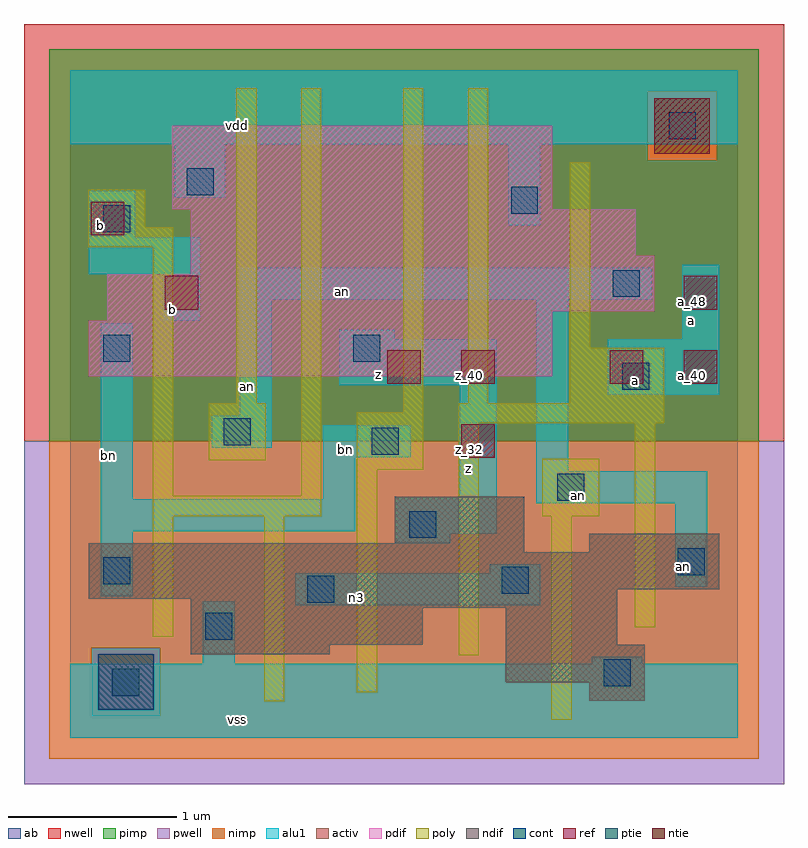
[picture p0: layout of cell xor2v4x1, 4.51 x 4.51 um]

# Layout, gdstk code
import gdstk
lib = gdstk.Library(unit=1e-6, precision=2.5e-09)
def R(c, l, rs):  # rectangles x0, y0, x1, y1
    for r in rs: c.add(gdstk.rectangle(r[:2], r[2:], *l))
ndif = (3, 0)
pdif = (4, 0)
ntie = (5, 0)
ptie = (6, 0)
ref = (24, 0)
cont = (25, 0)
pwell = (41, 0)
nwell = (42, 0)
activ = (43, 0)
pimp = (44, 0)
nimp = (45, 0)
poly = (46, 0)
alu1 = (49, 0)
ab = (63, 0)

xor2v4x1 = lib.new_cell('xor2v4x1')
R(xor2v4x1, ndif, [(3.08,0.22,3.41,0.33), (2.585,0.33,3.41,0.55), (0.715,0.495,1.54,0.55), (0.715,0.55,2.09,0.77), (2.585,0.55,3.245,0.77), (0.715,0.77,3.245,0.825), (0.11,0.825,3.245,0.88), (0.11,0.88,3.85,1.1), (0.11,1.1,2.695,1.155), (3.08,1.1,3.85,1.21), (1.925,1.155,2.695,1.43)])
R(xor2v4x1, pdif, [(0.11,2.145,2.86,2.475), (0.22,2.475,2.86,2.53), (0.22,2.53,3.465,2.75), (0.715,2.75,3.465,2.86), (0.715,2.86,3.355,3.135), (0.605,3.135,2.86,3.63)])
R(xor2v4x1, ntie, [(3.465,3.465,3.795,3.795)])
R(xor2v4x1, ptie, [(0.165,0.165,0.495,0.495)])
R(xor2v4x1, ref, [(2.32,1.66,2.52,1.86), (1.88,2.1,2.08,2.3), (2.32,2.1,2.52,2.3), (3.2,2.1,3.4,2.3), (3.64,2.1,3.84,2.3), (0.56,2.54,0.76,2.74), (3.64,2.54,3.84,2.74), (0.12,2.98,0.32,3.18)])
R(xor2v4x1, cont, [(0.25,0.25,0.41,0.41), (3.165,0.305,3.325,0.465), (0.8,0.58,0.96,0.74), (1.405,0.8,1.565,0.96), (2.56,0.855,2.72,1.015), (0.195,0.91,0.355,1.07), (3.605,0.965,3.765,1.125), (2.01,1.185,2.17,1.345), (2.89,1.405,3.05,1.565), (1.79,1.68,1.95,1.84), (0.91,1.735,1.07,1.895), (3.275,2.065,3.435,2.225), (0.195,2.23,0.355,2.39), (1.68,2.23,1.84,2.39), (3.22,2.615,3.38,2.775), (0.195,3,0.355,3.16), (2.615,3.11,2.775,3.27), (0.69,3.22,0.85,3.38), (3.55,3.55,3.71,3.71)])
R(xor2v4x1, pwell, [(-0.275,-0.275,4.235,1.76)])
R(xor2v4x1, nwell, [(-0.275,1.76,4.235,4.235)])
R(xor2v4x1, activ, [(0.165,0.165,0.495,0.495), (3.08,0.22,3.41,0.33), (2.585,0.33,3.41,0.55), (0.715,0.495,1.54,0.55), (0.715,0.55,2.09,0.77), (2.585,0.55,3.245,0.77), (0.715,0.77,3.245,0.825), (0.11,0.825,3.245,0.88), (0.11,0.88,3.85,1.1), (0.11,1.1,2.695,1.155), (3.08,1.1,3.85,1.21), (1.925,1.155,2.695,1.43), (0.11,2.145,2.86,2.475), (0.22,2.475,2.86,2.53), (0.22,2.53,3.465,2.75), (0.715,2.75,3.465,2.86), (0.715,2.86,3.355,3.135), (0.605,3.135,2.86,3.63), (3.465,3.465,3.795,3.795)])
R(xor2v4x1, pimp, [(0.125,0.125,0.535,0.535), (-0.125,1.76,4.085,3.425), (-0.125,3.425,3.425,3.835), (3.835,3.425,4.085,3.835), (-0.125,3.835,4.085,4.085)])
R(xor2v4x1, nimp, [(-0.125,-0.125,4.085,0.125), (-0.125,0.125,0.125,0.535), (0.535,0.125,4.085,0.535), (-0.125,0.535,4.085,1.76), (3.425,3.425,3.835,3.835)])
R(xor2v4x1, poly, [(2.855,0.105,2.975,1.315), (1.15,0.215,1.27,1.315), (1.7,0.27,1.82,1.59), (2.305,0.49,2.425,1.865), (0.49,0.6,0.61,1.315), (3.35,0.655,3.47,1.865), (0.49,1.315,1.49,1.435), (2.8,1.315,3.14,1.655), (0.49,1.435,0.61,2.91), (1.37,1.435,1.49,3.855), (1.7,1.59,2.095,1.93), (0.82,1.645,1.16,1.985), (2.305,1.865,3.525,1.985), (1.975,1.93,2.095,3.855), (0.985,1.985,1.105,3.855), (2.36,1.985,2.48,3.855), (2.965,1.985,3.525,2.315), (2.965,2.315,3.085,3.415), (0.105,2.91,0.61,3.03), (0.105,3.03,0.445,3.25)])
R(xor2v4x1, alu1, [(0,0,3.96,0.44), (0.785,0.44,0.975,0.81), (3.095,0.44,3.395,0.48), (1.335,0.785,2.79,0.975), (0.18,0.84,0.37,1.225), (3.59,0.895,3.78,1.39), (2.49,0.975,2.79,1.03), (1.925,1.155,2.255,1.21), (1.925,1.21,2.53,1.43), (0.18,1.225,1.69,1.415), (2.765,1.39,3.78,1.58), (0.18,1.415,0.37,2.46), (1.5,1.415,1.69,1.665), (2.31,1.43,2.53,2.09), (2.765,1.58,2.955,2.6), (1.5,1.665,2.02,1.855), (0.84,1.72,1.195,1.91), (1.005,1.91,1.195,2.6), (3.19,2.035,3.85,2.365), (1.595,2.09,2.53,2.365), (1.595,2.365,1.925,2.42), (3.63,2.365,3.85,2.805), (0.55,2.475,0.77,2.75), (1.005,2.6,3.45,2.79), (0.11,2.75,0.77,2.97), (0.11,2.97,0.385,3.245), (2.6,3.04,2.79,3.52), (0.62,3.205,0.92,3.52), (0,3.52,3.96,3.96)])
R(xor2v4x1, ab, [(0,0,3.96,3.96)])
xor2v4x1.add(gdstk.Label('vss', (0.99,0.11), layer=49, texttype=0))
xor2v4x1.add(gdstk.Label('an', (3.6375,1.0175), layer=49, texttype=0))
xor2v4x1.add(gdstk.Label('n3', (1.6975,0.8325), layer=49, texttype=0))
xor2v4x1.add(gdstk.Label('an', (3.0175,1.4375), layer=49, texttype=0))
xor2v4x1.add(gdstk.Label('a', (3.355,2.1175), layer=49, texttype=0))
xor2v4x1.add(gdstk.Label('a', (3.685,2.475), layer=49, texttype=0))
xor2v4x1.add(gdstk.Label('z', (2.365,1.595), layer=49, texttype=0))
xor2v4x1.add(gdstk.Label('bn', (1.63,1.7125), layer=49, texttype=0))
xor2v4x1.add(gdstk.Label('z', (1.8275,2.1575), layer=49, texttype=0))
xor2v4x1.add(gdstk.Label('an', (1.0525,2.0825), layer=49, texttype=0))
xor2v4x1.add(gdstk.Label('bn', (0.2275,1.675), layer=49, texttype=0))
xor2v4x1.add(gdstk.Label('an', (1.615,2.6475), layer=49, texttype=0))
xor2v4x1.add(gdstk.Label('b', (0.605,2.5425), layer=49, texttype=0))
xor2v4x1.add(gdstk.Label('b', (0.1775,3.0375), layer=49, texttype=0))
xor2v4x1.add(gdstk.Label('vdd', (0.99,3.63), layer=49, texttype=0))
xor2v4x1.add(gdstk.Label('a_48', (3.69,2.59), layer=24, texttype=0))
xor2v4x1.add(gdstk.Label('a_40', (3.69,2.15), layer=24, texttype=0))
xor2v4x1.add(gdstk.Label('a_40', (3.25,2.15), layer=24, texttype=0))
xor2v4x1.add(gdstk.Label('b_48', (0.61,2.59), layer=24, texttype=0))
xor2v4x1.add(gdstk.Label('b_56', (0.17,3.03), layer=24, texttype=0))
xor2v4x1.add(gdstk.Label('z_32', (2.37,1.71), layer=24, texttype=0))
xor2v4x1.add(gdstk.Label('z_40', (1.93,2.15), layer=24, texttype=0))
xor2v4x1.add(gdstk.Label('z_40', (2.37,2.15), layer=24, texttype=0))

lib.write_gds('xor2v4x1.gds')
